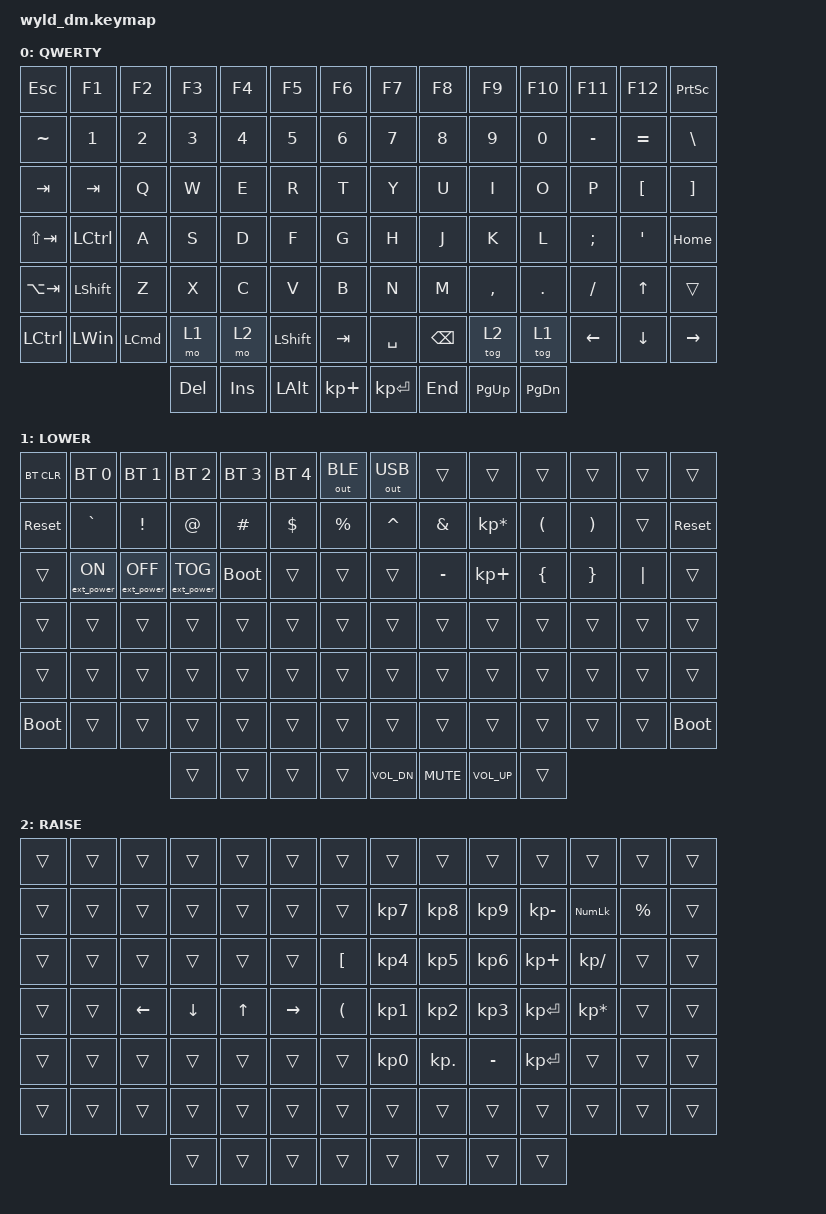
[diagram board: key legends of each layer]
/*
 * Copyright (c) 2020 The ZMK Contributors
 *
 * SPDX-License-Identifier: MIT
 */

#include <behaviors.dtsi>
#include <dt-bindings/zmk/keys.h>
#include <dt-bindings/zmk/bt.h>
#include <dt-bindings/zmk/outputs.h>
#include <dt-bindings/zmk/ext_power.h>

/ {
	keymap {
		compatible = "zmk,keymap";

        default_layer {
            display-name = "QWERTY";

            bindings = <
&kp ESC           &kp F1        &kp F2            &kp F3      &kp F4      &kp F5          &kp F6       &kp F7        &kp F8         &kp F9       &kp F10        &kp F11    &kp F12           &kp PRINTSCREEN
&kp TILDE         &kp N1        &kp N2            &kp N3      &kp N4      &kp N5          &kp N6       &kp N7        &kp N8         &kp N9       &kp N0         &kp MINUS  &kp EQUAL         &kp BACKSLASH
&kp TAB           &kp TAB       &kp Q             &kp W       &kp E       &kp R           &kp T        &kp Y         &kp U          &kp I        &kp O          &kp P      &kp LEFT_BRACKET  &kp RIGHT_BRACKET
&kp LS(TAB)       &kp LCTRL     &kp A             &kp S       &kp D       &kp F           &kp G        &kp H         &kp J          &kp K        &kp L          &kp SEMI   &kp SQT           &kp HOME
&kp LA(TAB)       &kp LSHFT     &kp Z             &kp X       &kp C       &kp V           &kp B        &kp N         &kp M          &kp COMMA    &kp DOT        &kp FSLH   &kp UP            &trans
&kp LEFT_CONTROL  &kp LEFT_WIN  &kp LEFT_COMMAND  &mo 1       &mo 2       &kp LEFT_SHIFT  &kp TAB      &kp SPACE     &kp BACKSPACE  &tog 2       &tog 1         &kp LEFT   &kp DOWN          &kp RIGHT
                                                  &kp DELETE  &kp INSERT  &kp LEFT_ALT    &kp KP_PLUS  &kp KP_ENTER  &kp END        &kp PAGE_UP  &kp PAGE_DOWN
            >;
        };

        lower_layer {
            display-name = "LOWER";

            bindings = <
&bt BT_CLR   &bt BT_SEL 0      &bt BT_SEL 1       &bt BT_SEL 2       &bt BT_SEL 3  &bt BT_SEL 4  &out OUT_BLE  &out OUT_USB  &trans      &trans           &trans    &trans    &trans    &trans
&sys_reset   &kp GRAVE         &kp EXCL           &kp AT             &kp HASH      &kp DOLLAR    &kp PRCNT     &kp CARET     &kp AMPS    &kp KP_MULTIPLY  &kp LPAR  &kp RPAR  &trans    &sys_reset
&trans       &ext_power EP_ON  &ext_power EP_OFF  &ext_power EP_TOG  &bootloader   &trans        &trans        &trans        &kp MINUS   &kp KP_PLUS      &kp LBRC  &kp RBRC  &kp PIPE  &trans
&trans       &trans            &trans             &trans             &trans        &trans        &trans        &trans        &trans      &trans           &trans    &trans    &trans    &trans
&trans       &trans            &trans             &trans             &trans        &trans        &trans        &trans        &trans      &trans           &trans    &trans    &trans    &trans
&bootloader  &trans            &trans             &trans             &trans        &trans        &trans        &trans        &trans      &trans           &trans    &trans    &trans    &bootloader
                                                  &trans             &trans        &trans        &trans        &kp K_VOL_DN  &kp K_MUTE  &kp K_VOL_UP     &trans
            >;
        };

        raise_layer {
            display-name = "RAISE";

            bindings = <
&trans  &trans  &trans    &trans    &trans  &trans     &trans    &trans           &trans           &trans           &trans        &trans           &trans     &trans
&trans  &trans  &trans    &trans    &trans  &trans     &trans    &kp KP_NUMBER_7  &kp KP_NUMBER_8  &kp KP_NUMBER_9  &kp KP_MINUS  &kp KP_NUMLOCK   &kp PRCNT  &trans
&trans  &trans  &trans    &trans    &trans  &trans     &kp LBKT  &kp KP_N4        &kp KP_N5        &kp KP_N6        &kp KP_PLUS   &kp KP_DIVIDE    &trans     &trans
&trans  &trans  &kp LEFT  &kp DOWN  &kp UP  &kp RIGHT  &kp LPAR  &kp KP_N1        &kp KP_N2        &kp KP_N3        &kp KP_ENTER  &kp KP_MULTIPLY  &trans     &trans
&trans  &trans  &trans    &trans    &trans  &trans     &trans    &kp KP_NUMBER_0  &kp KP_DOT       &kp MINUS        &kp KP_ENTER  &trans           &trans     &trans
&trans  &trans  &trans    &trans    &trans  &trans     &trans    &trans           &trans           &trans           &trans        &trans           &trans     &trans
                          &trans    &trans  &trans     &trans    &trans           &trans           &trans           &trans
            >;
        };
    };
};
};
